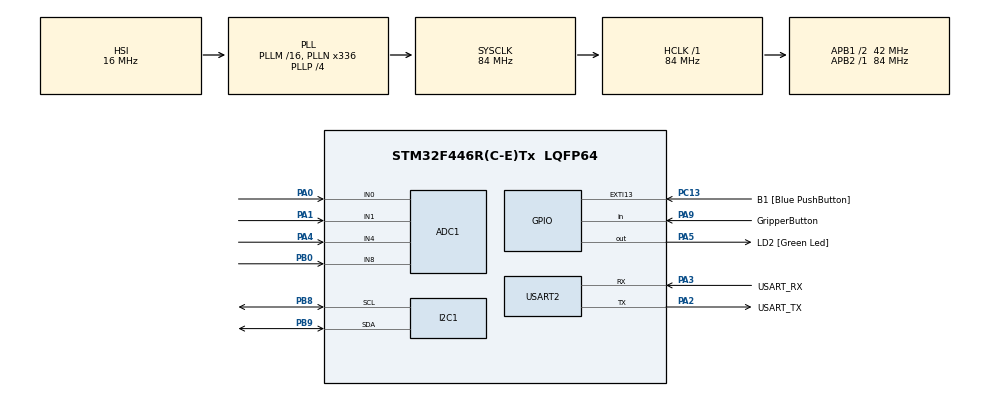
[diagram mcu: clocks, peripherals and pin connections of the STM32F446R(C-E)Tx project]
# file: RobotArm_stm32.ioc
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ADC1.Channel-0\#ChannelRegularConversion=ADC_CHANNEL_0
ADC1.Channel-1\#ChannelRegularConversion=ADC_CHANNEL_1
ADC1.Channel-2\#ChannelRegularConversion=ADC_CHANNEL_4
ADC1.Channel-3\#ChannelRegularConversion=ADC_CHANNEL_8
ADC1.DiscontinuousConvMode=ENABLE
ADC1.EOCSelection=ADC_EOC_SEQ_CONV
ADC1.NbrOfConversion=4
ADC1.NbrOfConversionFlag=1
ADC1.Rank-0\#ChannelRegularConversion=1
ADC1.Rank-1\#ChannelRegularConversion=2
ADC1.Rank-2\#ChannelRegularConversion=3
ADC1.Rank-3\#ChannelRegularConversion=4
ADC1.SamplingTime-0\#ChannelRegularConversion=ADC_SAMPLETIME_3CYCLES
ADC1.SamplingTime-1\#ChannelRegularConversion=ADC_SAMPLETIME_3CYCLES
ADC1.SamplingTime-2\#ChannelRegularConversion=ADC_SAMPLETIME_3CYCLES
ADC1.SamplingTime-3\#ChannelRegularConversion=ADC_SAMPLETIME_3CYCLES
ADC1.master=1
Mcu.Family=STM32F4
Mcu.Name=STM32F446R(C-E)Tx
Mcu.Package=LQFP64
NVIC.PriorityGroup=NVIC_PRIORITYGROUP_0
PA0-WKUP.Signal=ADCx_IN0
PA1.Signal=ADCx_IN1
PA13.GPIO_Label=TMS
PA13.Mode=Serial_Wire
PA13.Signal=SYS_JTMS-SWDIO
PA14.GPIO_Label=TCK
PA14.Mode=Serial_Wire
PA14.Signal=SYS_JTCK-SWCLK
PA2.GPIO_Label=USART_TX
PA2.Mode=Asynchronous
PA2.Signal=USART2_TX
PA3.GPIO_Label=USART_RX
PA3.Mode=Asynchronous
PA3.Signal=USART2_RX
PA4.Signal=ADCx_IN4
PA5.GPIO_Label=LD2 [Green Led]
PA5.Signal=GPIO_Output
PA9.GPIO_Label=GripperButton
PA9.GPIO_PuPd=GPIO_PULLUP
PA9.Signal=GPIO_Input
PB0.Signal=ADCx_IN8
PB3.GPIO_Label=SWO
PB3.Signal=SYS_JTDO-SWO
PB8.Mode=I2C
PB8.Signal=I2C1_SCL
PB9.Mode=I2C
PB9.Signal=I2C1_SDA
PC13.GPIO_Label=B1 [Blue PushButton]
PC13.GPIO_ModeDefaultEXTI=GPIO_MODE_IT_FALLING
PC13.Signal=GPXTI13
PC14-OSC32_IN.Mode=LSE-External-Oscillator
PC14-OSC32_IN.Signal=RCC_OSC32_IN
PC15-OSC32_OUT.Mode=LSE-External-Oscillator
PC15-OSC32_OUT.Signal=RCC_OSC32_OUT
PH0-OSC_IN.Mode=HSE-External-Oscillator
PH0-OSC_IN.Signal=RCC_OSC_IN
PH1-OSC_OUT.Mode=HSE-External-Oscillator
PH1-OSC_OUT.Signal=RCC_OSC_OUT
ProjectManager.HeapSize=0x200
ProjectManager.StackSize=0x400
ProjectManager.TargetToolchain=STM32CubeIDE
RCC.48MHZClocksFreq_Value=84000000
RCC.AHBFreq_Value=84000000
RCC.APB1CLKDivider=RCC_HCLK_DIV2
RCC.APB1Freq_Value=42000000
RCC.APB1TimFreq_Value=84000000
RCC.APB2Freq_Value=84000000
RCC.APB2TimFreq_Value=84000000
RCC.CortexFreq_Value=84000000
RCC.FLatency-AdvancedSettings=FLASH_LATENCY_2
RCC.HCLKFreq_Value=84000000
RCC.HSE_VALUE=8000000
RCC.HSI_VALUE=16000000
RCC.PLLN=336
RCC.PLLP=RCC_PLLP_DIV4
RCC.SYSCLKFreq_VALUE=84000000
RCC.SYSCLKSource=RCC_SYSCLKSOURCE_PLLCLK
RCC.USBFreq_Value=168000000
RCC.VCOOutputFreq_Value=336000000
SH.ADCx_IN0.0=ADC1_IN0,IN0
SH.ADCx_IN1.0=ADC1_IN1,IN1
SH.ADCx_IN4.0=ADC1_IN4,IN4
SH.ADCx_IN8.0=ADC1_IN8,IN8
USART2.VirtualMode=VM_ASYNC
board=NUCLEO-F446RE

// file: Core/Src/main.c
/* USER CODE BEGIN Header */
/**
  ******************************************************************************
  * @file           : main.c
  * @brief          : Main program body
  ******************************************************************************
  * @attention
  *
  * Copyright (c) 2024 STMicroelectronics.
  * All rights reserved.
  *
  * This software is licensed under terms that can be found in the LICENSE file
  * in the root directory of this software component.
  * If no LICENSE file comes with this software, it is provided AS-IS.
  *
  ******************************************************************************
  */
/* USER CODE END Header */
#include "main.h"

/* USER CODE BEGIN Includes */

#include "pca9685.h"
#include <stdint.h>

/* USER CODE END Includes */

/* USER CODE BEGIN PTD */

typedef struct{
	uint8_t  PotNum;
	uint16_t PotMin;
	uint16_t PotMax;
	uint8_t  PotInvertRange;
	uint8_t  ServoNum;
	uint16_t ServoMin;
	uint16_t ServoMax;
	uint16_t ServoHomeAngle;

} Joint_Config_t;

typedef struct{
	GPIO_TypeDef* GPIOx;
	uint16_t GPIO_Pin;
	uint8_t  ServoNum;
	uint16_t ServoMin;
	uint16_t ServoMax;
	uint16_t ServoHomeAngle;

} Gripper_Config_t;

/* USER CODE END PTD */

/* USER CODE BEGIN PD */

// Potentiometer Macros
#define POT_COUNT				4

// Servo Macros
#define SERVO_COUNT				5

/* USER CODE END PD */

ADC_HandleTypeDef hadc1;

I2C_HandleTypeDef hi2c1;

UART_HandleTypeDef huart2;

/* USER CODE BEGIN PV */

volatile uint16_t 	adcRawResults [POT_COUNT];
const uint32_t 		adcChannelCount = sizeof(adcRawResults) / sizeof(adcRawResults[0]);

/* USER CODE END PV */

void SystemClock_Config(void);
static void MX_GPIO_Init(void);
static void MX_USART2_UART_Init(void);
static void MX_ADC1_Init(void);
static void MX_I2C1_Init(void);

/* USER CODE BEGIN 0 */

// Used to map the Potentiometer Range (0-4096) to the Servo Range (0-180)
uint32_t MAP(uint32_t au32_IN, uint32_t au32_INmin, uint32_t au32_INmax, uint32_t au32_OUTmin, uint32_t au32_OUTmax)
{
    return ((((au32_IN - au32_INmin)*(au32_OUTmax - au32_OUTmin))/(au32_INmax - au32_INmin)) + au32_OUTmin);
}

void MoveServo(Joint_Config_t *Joint, uint32_t PotValue){
	float MappedServoAngle;
	if(PotValue > Joint->PotMax){
		PotValue = Joint->PotMax;
	}
	if(PotValue < Joint->PotMin){
		PotValue = Joint->PotMin;
	}
	// Invert the Wrist Potentiometer value
	if(Joint->PotInvertRange){
		PotValue = Joint->PotMax - PotValue + Joint->PotMin;
	}
	MappedServoAngle = (float)MAP(PotValue, Joint->PotMin, Joint->PotMax, Joint->ServoMin, Joint->ServoMax);
	PCA9685_SetServoAngle(Joint->ServoNum, MappedServoAngle);
}

/* USER CODE END 0 */

int main(void)
{

  /* MCU Configuration--------------------------------------------------------*/

  /* Reset of all peripherals, Initializes the Flash interface and the Systick. */
  HAL_Init();

  /* Configure the system clock */
  SystemClock_Config();

  /* Initialize all configured peripherals */
  MX_GPIO_Init();
  MX_USART2_UART_Init();
  MX_ADC1_Init();
  MX_I2C1_Init();
  /* USER CODE BEGIN 2 */

  // Configure Each of the joints
  Joint_Config_t Base;
  Base.PotNum = 0;
  Base.PotMin = 800;
  Base.PotMax = 3400;
  Base.PotInvertRange = 0;
  Base.ServoNum = 0;
  Base.ServoMin = 0;
  Base.ServoMax = 180;
  Base.ServoHomeAngle = 90;

  Joint_Config_t Shoulder;
  Shoulder.PotNum = 1;
  Shoulder.PotMin = 600;
  Shoulder.PotMax = 3400;
  Shoulder.PotInvertRange = 0;
  Shoulder.ServoNum = 1;
  Shoulder.ServoMin = 0;
  Shoulder.ServoMax = 180;
  Shoulder.ServoHomeAngle = 0;

  Joint_Config_t Elbow;
  Elbow.PotNum = 2;
  Elbow.PotMin = 600;
  Elbow.PotMax = 3400;
  Elbow.PotInvertRange = 0;
  Elbow.ServoNum = 2;
  Elbow.ServoMin = 50;
  Elbow.ServoMax = 180;
  Elbow.ServoHomeAngle = 180;

  Joint_Config_t Wrist;
  Wrist.PotNum = 3;
  Wrist.PotMin = 600;
  Wrist.PotMax = 3200;
  Wrist.PotInvertRange = 1;
  Wrist.ServoNum = 3;
  Wrist.ServoMin = 0;
  Wrist.ServoMax = 180;
  Wrist.ServoHomeAngle = 90;

  Gripper_Config_t Gripper;
  Gripper.GPIOx = GPIOA;
  Gripper.GPIO_Pin = GPIO_PIN_9;
  Gripper.ServoNum = 4;
  Gripper.ServoMin = 0;
  Gripper.ServoMax = 70;
  Gripper.ServoHomeAngle = Gripper.ServoMin;

  PCA9685_Init(&hi2c1);
  PCA9685_SetServoAngle(Base.ServoNum, Base.ServoHomeAngle);
  PCA9685_SetServoAngle(Shoulder.ServoNum, Shoulder.ServoHomeAngle);
  PCA9685_SetServoAngle(Elbow.ServoNum, Elbow.ServoHomeAngle);
  PCA9685_SetServoAngle(Wrist.ServoNum, Wrist.ServoHomeAngle);
  PCA9685_SetServoAngle(Gripper.ServoNum, Gripper.ServoHomeAngle);

  HAL_Delay(2000);

  /* USER CODE END 2 */

  /* Infinite loop */
  /* USER CODE BEGIN WHILE */
  while (1)
  {

	  // Super Loop Style
	  for(uint8_t i=0; i<adcChannelCount; i++){

		  // Read the Potentiometers
		  HAL_ADC_Start(&hadc1);
		  HAL_ADC_PollForConversion(&hadc1, 1);
		  adcRawResults[i] = HAL_ADC_GetValue(&hadc1);

		  // Move each of the Servos According to the Potentiometer Readings
		  if(i == Base.ServoNum){
			  MoveServo(&Base, (uint32_t)adcRawResults[i]);
		  }

		  if(i == Shoulder.ServoNum){
			  MoveServo(&Shoulder, (uint32_t)adcRawResults[i]);
		  }

		  if(i == Elbow.ServoNum){
			  MoveServo(&Elbow, (uint32_t)adcRawResults[i]);
		  }

		  if(i == Wrist.ServoNum){
			  MoveServo(&Wrist, (uint32_t)adcRawResults[i]);
		  }

		  if(HAL_GPIO_ReadPin(GPIOA, GPIO_PIN_9)){
			 PCA9685_SetServoAngle(Gripper.ServoNum, Gripper.ServoMin);
		  }else{
			 PCA9685_SetServoAngle(Gripper.ServoNum, Gripper.ServoMax);
		  }

	  }

    /* USER CODE END WHILE */

  }
}

void SystemClock_Config(void)
{
  RCC_OscInitTypeDef RCC_OscInitStruct = {0};
  RCC_ClkInitTypeDef RCC_ClkInitStruct = {0};

  /** Configure the main internal regulator output voltage
  */
  __HAL_RCC_PWR_CLK_ENABLE();
  __HAL_PWR_VOLTAGESCALING_CONFIG(PWR_REGULATOR_VOLTAGE_SCALE3);

  /** Initializes the RCC Oscillators according to the specified parameters
  * in the RCC_OscInitTypeDef structure.
  */
  RCC_OscInitStruct.OscillatorType = RCC_OSCILLATORTYPE_HSI;
  RCC_OscInitStruct.HSIState = RCC_HSI_ON;
  RCC_OscInitStruct.HSICalibrationValue = RCC_HSICALIBRATION_DEFAULT;
  RCC_OscInitStruct.PLL.PLLState = RCC_PLL_ON;
  RCC_OscInitStruct.PLL.PLLSource = RCC_PLLSOURCE_HSI;
  RCC_OscInitStruct.PLL.PLLM = 16;
  RCC_OscInitStruct.PLL.PLLN = 336;
  RCC_OscInitStruct.PLL.PLLP = RCC_PLLP_DIV4;
  RCC_OscInitStruct.PLL.PLLQ = 2;
  RCC_OscInitStruct.PLL.PLLR = 2;
  if (HAL_RCC_OscConfig(&RCC_OscInitStruct) != HAL_OK)
  {
    Error_Handler();
  }

  /** Initializes the CPU, AHB and APB buses clocks
  */
  RCC_ClkInitStruct.ClockType = RCC_CLOCKTYPE_HCLK|RCC_CLOCKTYPE_SYSCLK
                              |RCC_CLOCKTYPE_PCLK1|RCC_CLOCKTYPE_PCLK2;
  RCC_ClkInitStruct.SYSCLKSource = RCC_SYSCLKSOURCE_PLLCLK;
  RCC_ClkInitStruct.AHBCLKDivider = RCC_SYSCLK_DIV1;
  RCC_ClkInitStruct.APB1CLKDivider = RCC_HCLK_DIV2;
  RCC_ClkInitStruct.APB2CLKDivider = RCC_HCLK_DIV1;

  if (HAL_RCC_ClockConfig(&RCC_ClkInitStruct, FLASH_LATENCY_2) != HAL_OK)
  {
    Error_Handler();
  }
}

static void MX_ADC1_Init(void)
{

  ADC_ChannelConfTypeDef sConfig = {0};

  /** Configure the global features of the ADC (Clock, Resolution, Data Alignment and number of conversion)
  */
  hadc1.Instance = ADC1;
  hadc1.Init.ClockPrescaler = ADC_CLOCK_SYNC_PCLK_DIV4;
  hadc1.Init.Resolution = ADC_RESOLUTION_12B;
  hadc1.Init.ScanConvMode = ENABLE;
  hadc1.Init.ContinuousConvMode = DISABLE;
  hadc1.Init.DiscontinuousConvMode = ENABLE;
  hadc1.Init.NbrOfDiscConversion = 1;
  hadc1.Init.ExternalTrigConvEdge = ADC_EXTERNALTRIGCONVEDGE_NONE;
  hadc1.Init.ExternalTrigConv = ADC_SOFTWARE_START;
  hadc1.Init.DataAlign = ADC_DATAALIGN_RIGHT;
  hadc1.Init.NbrOfConversion = 4;
  hadc1.Init.DMAContinuousRequests = DISABLE;
  hadc1.Init.EOCSelection = ADC_EOC_SEQ_CONV;
  if (HAL_ADC_Init(&hadc1) != HAL_OK)
  {
    Error_Handler();
  }

  /** Configure for the selected ADC regular channel its corresponding rank in the sequencer and its sample time.
  */
  sConfig.Channel = ADC_CHANNEL_0;
  sConfig.Rank = 1;
  sConfig.SamplingTime = ADC_SAMPLETIME_3CYCLES;
  if (HAL_ADC_ConfigChannel(&hadc1, &sConfig) != HAL_OK)
  {
    Error_Handler();
  }

  /** Configure for the selected ADC regular channel its corresponding rank in the sequencer and its sample time.
  */
  sConfig.Channel = ADC_CHANNEL_1;
  sConfig.Rank = 2;
  if (HAL_ADC_ConfigChannel(&hadc1, &sConfig) != HAL_OK)
  {
    Error_Handler();
  }

  /** Configure for the selected ADC regular channel its corresponding rank in the sequencer and its sample time.
  */
  sConfig.Channel = ADC_CHANNEL_4;
  sConfig.Rank = 3;
  if (HAL_ADC_ConfigChannel(&hadc1, &sConfig) != HAL_OK)
  {
    Error_Handler();
  }

  /** Configure for the selected ADC regular channel its corresponding rank in the sequencer and its sample time.
  */
  sConfig.Channel = ADC_CHANNEL_8;
  sConfig.Rank = 4;
  if (HAL_ADC_ConfigChannel(&hadc1, &sConfig) != HAL_OK)
  {
    Error_Handler();
  }

}

static void MX_I2C1_Init(void)
{

  hi2c1.Instance = I2C1;
  hi2c1.Init.ClockSpeed = 100000;
  hi2c1.Init.DutyCycle = I2C_DUTYCYCLE_2;
  hi2c1.Init.OwnAddress1 = 0;
  hi2c1.Init.AddressingMode = I2C_ADDRESSINGMODE_7BIT;
  hi2c1.Init.DualAddressMode = I2C_DUALADDRESS_DISABLE;
  hi2c1.Init.OwnAddress2 = 0;
  hi2c1.Init.GeneralCallMode = I2C_GENERALCALL_DISABLE;
  hi2c1.Init.NoStretchMode = I2C_NOSTRETCH_DISABLE;
  if (HAL_I2C_Init(&hi2c1) != HAL_OK)
  {
    Error_Handler();
  }

}

static void MX_USART2_UART_Init(void)
{

  huart2.Instance = USART2;
  huart2.Init.BaudRate = 115200;
  huart2.Init.WordLength = UART_WORDLENGTH_8B;
  huart2.Init.StopBits = UART_STOPBITS_1;
  huart2.Init.Parity = UART_PARITY_NONE;
  huart2.Init.Mode = UART_MODE_TX_RX;
  huart2.Init.HwFlowCtl = UART_HWCONTROL_NONE;
  huart2.Init.OverSampling = UART_OVERSAMPLING_16;
  if (HAL_UART_Init(&huart2) != HAL_OK)
  {
    Error_Handler();
  }

}

static void MX_GPIO_Init(void)
{
  GPIO_InitTypeDef GPIO_InitStruct = {0};

  /* GPIO Ports Clock Enable */
  __HAL_RCC_GPIOC_CLK_ENABLE();
  __HAL_RCC_GPIOH_CLK_ENABLE();
  __HAL_RCC_GPIOA_CLK_ENABLE();
  __HAL_RCC_GPIOB_CLK_ENABLE();

  /*Configure GPIO pin Output Level */
  HAL_GPIO_WritePin(LD2_GPIO_Port, LD2_Pin, GPIO_PIN_RESET);

  /*Configure GPIO pin : B1_Pin */
  GPIO_InitStruct.Pin = B1_Pin;
  GPIO_InitStruct.Mode = GPIO_MODE_IT_FALLING;
  GPIO_InitStruct.Pull = GPIO_NOPULL;
  HAL_GPIO_Init(B1_GPIO_Port, &GPIO_InitStruct);

  /*Configure GPIO pin : LD2_Pin */
  GPIO_InitStruct.Pin = LD2_Pin;
  GPIO_InitStruct.Mode = GPIO_MODE_OUTPUT_PP;
  GPIO_InitStruct.Pull = GPIO_NOPULL;
  GPIO_InitStruct.Speed = GPIO_SPEED_FREQ_LOW;
  HAL_GPIO_Init(LD2_GPIO_Port, &GPIO_InitStruct);

  /*Configure GPIO pin : GripperButton_Pin */
  GPIO_InitStruct.Pin = GripperButton_Pin;
  GPIO_InitStruct.Mode = GPIO_MODE_INPUT;
  GPIO_InitStruct.Pull = GPIO_PULLUP;
  HAL_GPIO_Init(GripperButton_GPIO_Port, &GPIO_InitStruct);

}

void Error_Handler(void)
{
  __disable_irq();
  while (1)
  {
  }
}
